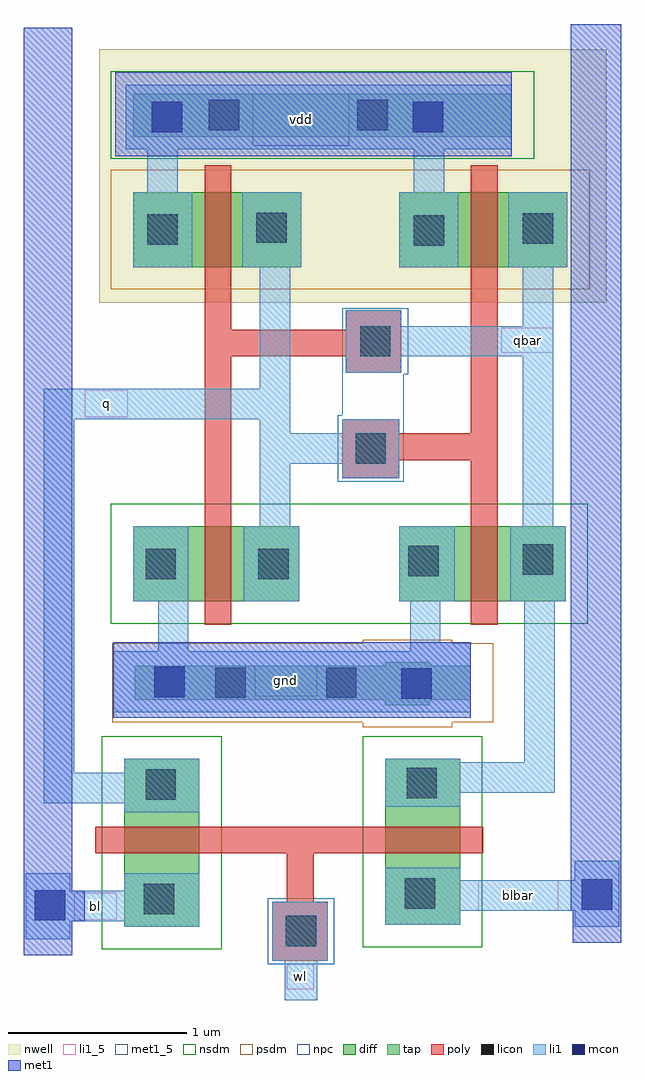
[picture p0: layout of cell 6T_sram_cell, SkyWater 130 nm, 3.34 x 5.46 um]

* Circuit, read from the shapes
.subckt 6T_sram_cell bl blbar gnd q qbar vdd wl
XM1 q wl bl gnd sky130_fd_pr__nfet_01v8 w=0.42 l=0.15
XM2 q qbar gnd gnd sky130_fd_pr__nfet_01v8 w=0.42 l=0.15
XM3 qbar wl blbar gnd sky130_fd_pr__nfet_01v8 w=0.42 l=0.15
XM4 qbar q gnd gnd sky130_fd_pr__nfet_01v8 w=0.42 l=0.15
XM5 q qbar vdd vdd sky130_fd_pr__pfet_01v8 w=0.42 l=0.15
XM6 qbar q vdd vdd sky130_fd_pr__pfet_01v8 w=0.42 l=0.15
.ends

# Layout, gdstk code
import gdstk
lib = gdstk.Library(unit=1e-6, precision=1e-09)
def R(c, l, rs):  # rectangles x0, y0, x1, y1
    for r in rs: c.add(gdstk.rectangle(r[:2], r[2:], *l))
nwell = (64, 20)
diff = (65, 20)
tap = (65, 44)
poly = (66, 20)
licon = (66, 44)
li1_5 = (67, 5)
li1 = (67, 20)
mcon = (67, 44)
met1_5 = (68, 5)
met1 = (68, 20)
nsdm = (93, 44)
psdm = (94, 20)
npc = (95, 20)

c_6t_sram_cell = lib.new_cell('6T_sram_cell')
R(c_6t_sram_cell, nwell, [(5.59,1.77,8.43,3.19)])
R(c_6t_sram_cell, diff, [(5.73,-1.72,6.15,-0.78), (7.19,-1.71,7.61,-0.78), (5.78,0.1,6.71,0.52), (7.27,0.1,8.2,0.52), (5.78,1.97,6.72,2.39), (7.27,1.97,8.21,2.39)])
R(c_6t_sram_cell, tap, [(7.19,-0.48,7.44,-0.45), (5.79,-0.45,7.67,-0.26), (7.19,-0.26,7.44,-0.24), (5.78,2.7,7.9,2.94)])
R(c_6t_sram_cell, poly, [(6.56,-1.91,6.87,-1.58), (6.64,-1.58,6.79,-1.31), (5.57,-1.31,7.74,-1.16), (6.18,-0.03,6.33,1.47), (7.67,-0.03,7.82,0.89), (6.95,0.79,7.27,0.89), (6.95,0.89,7.82,1.04), (6.95,1.04,7.27,1.12), (7.67,1.04,7.82,2.54), (6.97,1.38,7.28,1.47), (6.18,1.47,7.28,1.62), (6.18,1.62,6.33,2.54), (6.97,1.62,7.28,1.73)])
R(c_6t_sram_cell, licon, [(6.635,-1.83,6.805,-1.66), (5.84,-1.65,6.01,-1.48), (7.3,-1.62,7.47,-1.45), (5.85,-1.01,6.02,-0.84), (7.31,-1,7.48,-0.83), (6.24,-0.44,6.41,-0.27), (6.86,-0.44,7.03,-0.27), (5.85,0.225,6.02,0.395), (6.48,0.225,6.65,0.395), (7.32,0.24,7.49,0.41), (7.96,0.25,8.13,0.42), (7.025,0.87,7.195,1.04), (7.05,1.47,7.22,1.64), (7.35,2.09,7.52,2.26), (5.86,2.095,6.03,2.265), (7.96,2.1,8.13,2.27), (6.47,2.105,6.64,2.275), (6.205,2.735,6.375,2.905), (7.035,2.735,7.205,2.905)])
R(c_6t_sram_cell, li1_5, [(6.64,-2.07,6.79,-1.93), (5.45,-1.68,5.69,-1.53), (7.71,-1.63,8.16,-1.46), (5.51,1.13,5.75,1.28), (7.84,1.49,8.13,1.63)])
R(c_6t_sram_cell, li1, [(6.63,-2.13,6.81,-1.91), (6.56,-1.91,6.87,-1.58), (5.18,-1.79,5.43,-1.69), (5.73,-1.72,6.15,-1.69), (8.25,-1.72,8.5,-1.63), (7.19,-1.71,7.61,-1.63), (5.18,-1.69,6.15,-1.52), (7.19,-1.63,8.5,-1.46), (5.18,-1.52,5.43,-1.42), (5.73,-1.52,6.15,-1.42), (7.19,-1.46,7.61,-1.39), (8.25,-1.46,8.5,-1.35), (5.73,-1.08,6.15,-1.03), (7.19,-1.05,7.61,-0.97), (5.28,-1.03,6.15,-0.86), (7.19,-0.97,8.14,-0.8), (5.28,-0.86,5.45,1.12), (5.73,-0.86,6.15,-0.78), (7.19,-0.8,7.61,-0.78), (7.97,-0.8,8.14,0.1), (5.67,-0.52,7.67,-0.18), (5.92,-0.18,6.09,0.1), (7.33,-0.18,7.67,-0.13), (7.33,-0.13,7.5,0.1), (5.78,0.1,6.09,0.52), (6.4,0.1,6.71,0.52), (7.27,0.1,7.58,0.52), (7.89,0.1,8.2,0.52), (6.49,0.52,6.66,0.87), (7.96,0.52,8.13,1.47), (6.95,0.79,7.27,0.87), (6.49,0.87,7.27,1.04), (6.49,1.04,6.66,1.12), (6.95,1.04,7.27,1.12), (5.28,1.12,6.66,1.29), (6.49,1.29,6.66,1.97), (6.97,1.38,7.28,1.47), (6.97,1.47,8.13,1.64), (6.97,1.64,7.28,1.73), (7.96,1.64,8.13,1.97), (5.78,1.97,6.11,2.39), (6.39,1.97,6.72,2.39), (7.27,1.97,7.6,2.39), (7.88,1.97,8.21,2.39), (5.86,2.39,6.03,2.63), (7.35,2.39,7.52,2.63), (5.74,2.63,7.9,2.99)])
R(c_6t_sram_cell, mcon, [(5.23,-1.685,5.4,-1.515), (8.29,-1.625,8.46,-1.455), (7.28,-0.445,7.45,-0.275), (5.9,-0.435,6.07,-0.265), (5.885,2.725,6.055,2.895), (7.345,2.725,7.515,2.895)])
R(c_6t_sram_cell, met1_5, [(6.46,-0.43,6.81,-0.26), (6.45,2.65,6.99,2.94)])
R(c_6t_sram_cell, met1, [(5.17,-1.88,5.44,-1.69), (8.24,-1.81,8.51,-1.63), (5.17,-1.69,5.51,-1.52), (8.23,-1.63,8.51,3.33), (5.17,-1.52,5.44,3.31), (5.67,-0.55,7.67,-0.13), (5.68,2.59,7.9,3.06)])
R(c_6t_sram_cell, nsdm, [(5.605,-1.845,6.275,-0.655), (7.065,-1.835,7.735,-0.655), (5.655,-0.025,8.325,0.645), (5.655,2.575,8.025,3.065)])
R(c_6t_sram_cell, psdm, [(7.065,-0.605,7.565,-0.575), (5.665,-0.575,7.795,-0.135), (7.065,-0.135,7.565,-0.115), (5.655,1.845,8.335,2.515)])
R(c_6t_sram_cell, npc, [(6.535,-1.93,6.905,-1.56), (6.925,0.77,7.295,1.14), (6.95,1.14,7.295,1.37), (6.95,1.37,7.32,1.74)])
c_6t_sram_cell.add(gdstk.Label('vdd', (6.72,2.795), layer=68, texttype=5))
c_6t_sram_cell.add(gdstk.Label('qbar', (7.985,1.56), layer=67, texttype=5))
c_6t_sram_cell.add(gdstk.Label('q', (5.63,1.205), layer=67, texttype=5))
c_6t_sram_cell.add(gdstk.Label('gnd', (6.635,-0.345), layer=68, texttype=5))
c_6t_sram_cell.add(gdstk.Label('bl', (5.57,-1.605), layer=67, texttype=5))
c_6t_sram_cell.add(gdstk.Label('blbar', (7.935,-1.545), layer=67, texttype=5))
c_6t_sram_cell.add(gdstk.Label('wl', (6.715,-2), layer=67, texttype=5))

lib.write_gds('6T_sram_cell.gds')
